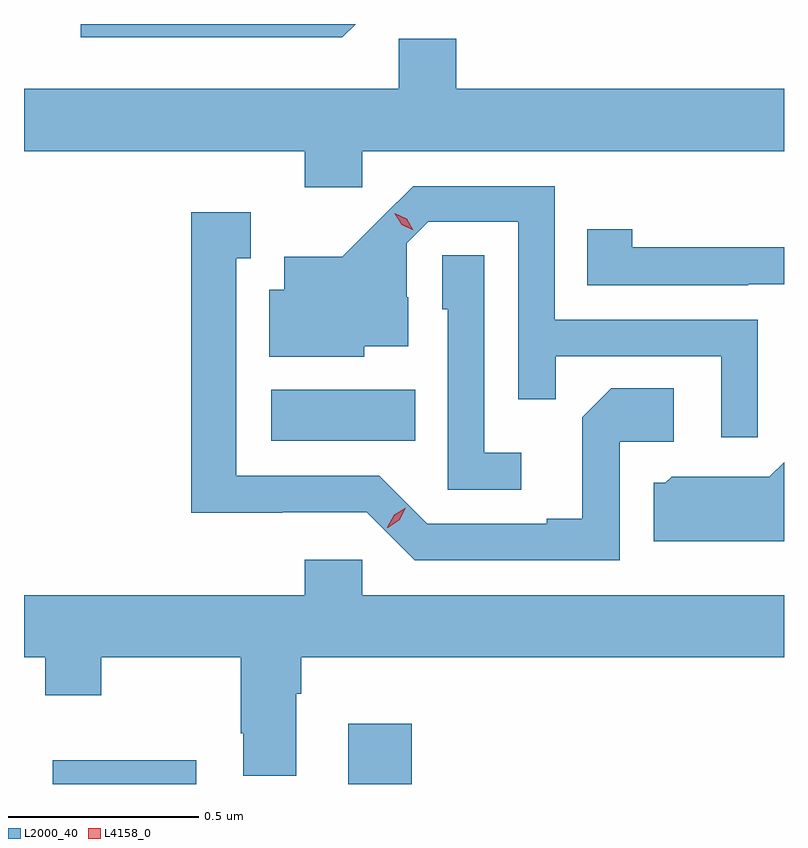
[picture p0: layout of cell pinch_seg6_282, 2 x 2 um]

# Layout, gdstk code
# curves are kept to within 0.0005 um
import gdstk
lib = gdstk.Library(unit=1e-6, precision=1e-09)
def R(c, l, rs):  # rectangles x0, y0, x1, y1
    for r in rs: c.add(gdstk.rectangle(r[:2], r[2:], *l))
def P(c, l, *ps):  # polygons
    for p in ps: c.add(gdstk.Polygon(p, *l))
L2000_40 = (2000, 40)
L4158_0 = (4158, 0)

pinch_seg6_282 = lib.new_cell('pinch_seg6_282')
R(pinch_seg6_282, L2000_40, [(880.945,984.299,881.323,984.361), (881.723,984.299,881.891,984.457), (881.52,985.202,881.9,985.336)])
P(pinch_seg6_282, L2000_40, [(881.743,986.299),(881.019,986.299),(881.019,986.264),(881.708,986.264)],
  [(881.76,985.964),(882.87,985.964),(882.87,986.128),(882.008,986.128),(882.008,986.26),(881.856,986.26),(881.856,986.128),(880.87,986.128),(880.87,985.964),(881.609,985.964),(881.609,985.869),(881.76,985.869)],
  [(882.801,985.521),(882.267,985.521),(882.267,985.872),(881.894,985.872),(881.707,985.687),(881.555,985.687),(881.555,985.6),(881.516,985.6),(881.516,985.424),(881.766,985.424),(881.766,985.451),(881.881,985.451),(881.881,985.58),(881.877,985.58),(881.877,985.722),(881.934,985.779),(882.171,985.779),(882.171,985.312),(882.269,985.312),(882.269,985.425),(882.705,985.425),(882.705,985.212),(882.801,985.212)],
  [(882.438,985.2),(882.58,985.2),(882.58,985.34),(882.415,985.34),(882.339,985.264),(882.339,984.997),(882.245,984.997),(882.245,984.984),(881.931,984.984),(881.805,985.11),(881.428,985.11),(881.428,985.683),(881.467,985.683),(881.467,985.804),(881.31,985.804),(881.31,985.013),(881.55,985.013),(881.55,985.014),(881.772,985.014),(881.898,984.888),(882.438,984.888)],
  [(882.776,985.614),(882.87,985.614),(882.87,985.711),(882.827,985.711),(882.827,985.712),(882.471,985.712),(882.471,985.759),(882.352,985.759),(882.352,985.611),(882.776,985.611)],
  [(882.178,985.171),(882.081,985.171),(882.081,985.691),(881.97,985.691),(881.97,985.548),(881.985,985.548),(881.985,985.074),(882.178,985.074)],
  [(882.87,985.146),(882.831,985.107),(882.708,985.107),(882.708,985.108),(882.574,985.108),(882.558,985.092),(882.527,985.092),(882.527,984.938),(882.87,984.938)],
  [(881.587,984.536),(881.6,984.536),(881.6,984.632),(882.87,984.632),(882.87,984.796),(881.76,984.796),(881.76,984.889),(881.609,984.889),(881.609,984.796),(880.87,984.796),(880.87,984.632),(880.926,984.632),(880.926,984.533),(881.073,984.533),(881.073,984.632),(881.44,984.632),(881.44,984.433),(881.447,984.433),(881.447,984.321),(881.587,984.321)])
P(pinch_seg6_282, L4158_0, [(881.894,985.756),(881.864,985.771),(881.846,985.8),(881.846,985.801),(881.846,985.801),(881.877,985.786),(881.894,985.756),(881.894,985.756)],
  [(881.826,984.974),(881.826,984.975),(881.844,985.007),(881.875,985.026),(881.875,985.026),(881.875,985.026),(881.858,984.993),(881.827,984.974)])

lib.write_gds('pinch_seg6_282.gds')
